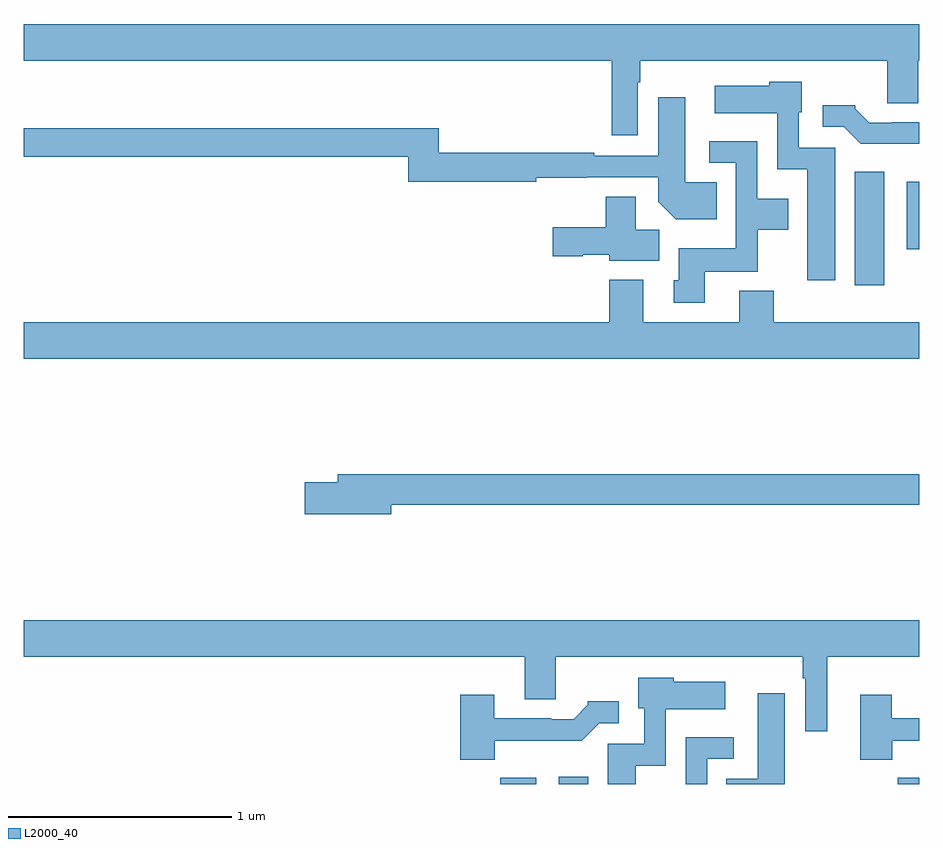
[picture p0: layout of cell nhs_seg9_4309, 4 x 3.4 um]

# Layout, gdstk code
import gdstk
lib = gdstk.Library(unit=1e-6, precision=1e-09)
def R(c, l, rs):  # rectangles x0, y0, x1, y1
    for r in rs: c.add(gdstk.rectangle(r[:2], r[2:], *l))
def P(c, l, *ps):  # polygons
    for p in ps: c.add(gdstk.Polygon(p, *l))
L2000_40 = (2000, 40)

nhs_seg9_4309 = lib.new_cell('nhs_seg9_4309')
R(nhs_seg9_4309, L2000_40, [(359.128,1214.5,359.29,1214.527), (359.39,1214.5,359.521,1214.533), (360.904,1214.5,361,1214.527), (360.713,1216.728,360.844,1217.236), (360.944,1216.89,361,1217.191)])
P(nhs_seg9_4309, L2000_40, [(357,1217.732),(359.626,1217.732),(359.626,1217.4),(359.742,1217.4),(359.742,1217.636),(359.755,1217.636),(359.755,1217.732),(360.857,1217.732),(360.857,1217.542),(360.997,1217.542),(360.997,1217.732),(361,1217.732),(361,1217.896),(357,1217.896)],
  [(360.625,1217.343),(360.462,1217.343),(360.462,1217.502),(360.475,1217.502),(360.475,1217.638),(360.33,1217.638),(360.33,1217.62),(360.087,1217.62),(360.087,1217.498),(360.366,1217.498),(360.366,1217.246),(360.5,1217.246),(360.5,1216.752),(360.625,1216.752)],
  [(360.095,1217.188),(359.956,1217.188),(359.956,1217.569),(359.834,1217.569),(359.834,1217.307),(359.549,1217.307),(359.549,1217.32),(358.853,1217.32),(358.853,1217.431),(357,1217.431),(357,1217.302),(358.717,1217.302),(358.717,1217.191),(359.289,1217.191),(359.289,1217.209),(359.516,1217.209),(359.516,1217.211),(359.834,1217.211),(359.834,1217.102),(359.912,1217.024),(360.095,1217.024)],
  [(361,1217.457),(360.877,1217.457),(360.877,1217.454),(360.778,1217.454),(360.714,1217.518),(360.714,1217.533),(360.57,1217.533),(360.57,1217.436),(360.663,1217.436),(360.739,1217.36),(361,1217.36)],
  [(360.043,1216.79),(360.279,1216.79),(360.279,1216.976),(360.415,1216.976),(360.415,1217.116),(360.276,1217.116),(360.276,1217.373),(360.063,1217.373),(360.063,1217.277),(360.18,1217.277),(360.18,1216.894),(359.927,1216.894),(359.927,1216.752),(359.903,1216.752),(359.903,1216.65),(360.043,1216.65)],
  [(359.839,1216.976),(359.734,1216.976),(359.734,1217.125),(359.6,1217.125),(359.6,1216.987),(359.364,1216.987),(359.364,1216.858),(359.496,1216.858),(359.496,1216.865),(359.616,1216.865),(359.616,1216.838),(359.839,1216.838)],
  [(361,1216.564),(360.35,1216.564),(360.35,1216.705),(360.197,1216.705),(360.197,1216.564),(359.767,1216.564),(359.767,1216.753),(359.615,1216.753),(359.615,1216.564),(357,1216.564),(357,1216.4),(361,1216.4)],
  [(358.642,1215.748),(361,1215.748),(361,1215.884),(358.403,1215.884),(358.403,1215.848),(358.254,1215.848),(358.254,1215.706),(358.642,1215.706)],
  [(360.589,1215.068),(361,1215.068),(361,1215.232),(357,1215.232),(357,1215.068),(359.237,1215.068),(359.237,1214.878),(359.377,1214.878),(359.377,1215.068),(360.48,1215.068),(360.48,1214.972),(360.492,1214.972),(360.492,1214.736),(360.589,1214.736)],
  [(359.734,1214.582),(359.868,1214.582),(359.868,1214.834),(360.133,1214.834),(360.133,1214.956),(359.904,1214.956),(359.904,1214.974),(359.744,1214.974),(359.744,1214.838),(359.772,1214.838),(359.772,1214.679),(359.609,1214.679),(359.609,1214.5),(359.734,1214.5)],
  [(360.4,1214.905),(360.278,1214.905),(360.278,1214.524),(360.139,1214.524),(360.139,1214.5),(360.4,1214.5)],
  [(360.88,1214.694),(361,1214.694),(361,1214.793),(360.877,1214.793),(360.877,1214.899),(360.737,1214.899),(360.737,1214.609),(360.88,1214.609)],
  [(359.104,1214.694),(359.493,1214.694),(359.571,1214.772),(359.659,1214.772),(359.659,1214.869),(359.52,1214.869),(359.52,1214.854),(359.456,1214.79),(359.357,1214.79),(359.357,1214.793),(359.101,1214.793),(359.101,1214.899),(358.949,1214.899),(358.949,1214.609),(359.104,1214.609)],
  [(360.054,1214.613),(360.172,1214.613),(360.172,1214.709),(359.958,1214.709),(359.958,1214.5),(360.054,1214.5)])

lib.write_gds('nhs_seg9_4309.gds')
